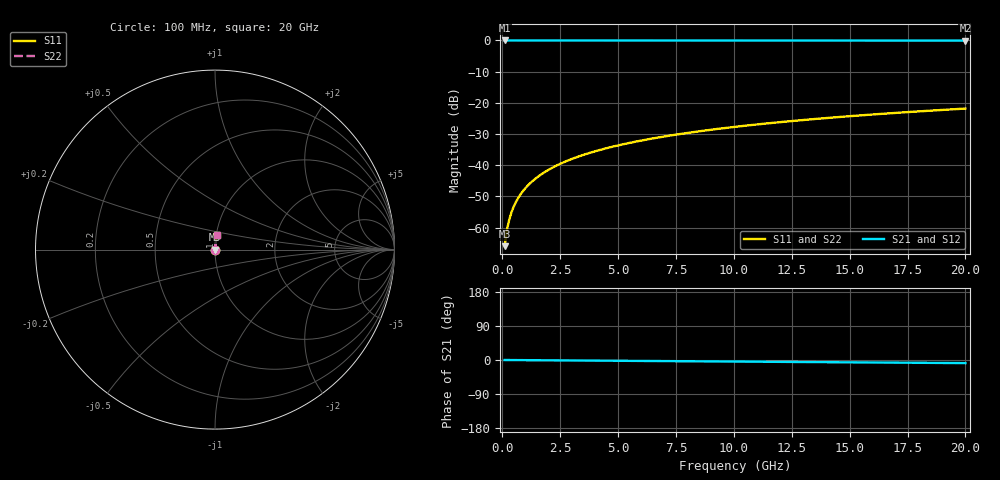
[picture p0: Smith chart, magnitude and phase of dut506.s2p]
! Touchstone file exported from HFSS 2026.1.0
!  File:  C:/ffzhzh/LocalFiles/Ansys_Project_Files/temp_train_TSV_506_1783023193_46388.aedt
!  Generated:  04:15:12 AM Jul  3, 2026
!  Design:  TSV
!  Project:  temp_train_TSV_506_1783023193_46388
! Variables:
!  h_bsmrdl = 2um
!  h_ox = 20um
!  h_rdl = 5um
!  h_sub = 58.57um
!  h_tmrdl = 5um
!  h_tsv = 58.57um
!  h_via = 3um
!  l_bsmrdl = 300um
!  l_sub = 411.38um
!  l_tmrdl = 200um
!  m_sub = 200um
!  pitch = 57.76um
!  r_tsv = 5.69um
!  s_tmrdl = 10um
!  w_bsmrdl = 18um
!  w_sub = 500um
!  w_tmrdl = 12um
!  x_tsv_center1 = 206um
!  x_tsv_center2 = 524um
!  x_tsv_center3 = 736um
!  x_tsv_center4 = 1054um
!  x_tsv_center5 = 1266um
!  x_tsv_center6 = 1584um
# GHz S MA R 50.000000
! Terminal data exported
! Port[1] = TSV1_1_T1
! Port[2] = TSV1_1_T2
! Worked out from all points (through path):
!   200 points, 100 MHz to 20 GHz, reference 50 ohm
!   highest |S21| = 0.00 dB at 100 MHz (marker M1); lowest = 0.0 dB at 20 GHz (marker M2)
!   group delay of S21, straight-line fit = 1.13 ps
!   lowest |S11| = -66.0 dB at 100 MHz (marker M3), VSWR 1.00, Z = 50 + j0.044 ohm
!   |S11| at or under -10 dB: start of sweep to end of sweep
!   |S22| runs from -66.0 to -21.8 dB; largest |S21 - S12| = 3e-15
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0.1  0.0005019 61.2  0.9998 -0.0  0.9998 -0.0  0.0005019 61.2
! Gamma 0 0 0 0
! Port Impedance 50 0 50 0
0.2  0.0009131 74.1  0.9998 -0.1  0.9998 -0.1  0.0009131 74.1
0.3  0.001339 78.6  0.9997 -0.1  0.9997 -0.1  0.001339 78.6
0.4  0.001766 80.8  0.9997 -0.2  0.9997 -0.2  0.001766 80.8
0.5  0.002191 82.2  0.9997 -0.2  0.9997 -0.2  0.002191 82.2
0.6  0.002613 83.0  0.9997 -0.3  0.9997 -0.3  0.002613 83.0
0.7  0.003034 83.6  0.9997 -0.3  0.9997 -0.3  0.003034 83.6
0.8  0.003453 84.1  0.9997 -0.3  0.9997 -0.3  0.003453 84.1
1  0.004286 84.8  0.9996 -0.4  0.9996 -0.4  0.004286 84.8
1.4  0.005948 85.5  0.9996 -0.6  0.9996 -0.6  0.005948 85.5
1.7  0.007191 85.9  0.9995 -0.7  0.9995 -0.7  0.007191 85.9
2  0.008433 86.0  0.9995 -0.8  0.9995 -0.8  0.008433 86.0
2.7  0.01132 86.2  0.9994 -1.1  0.9994 -1.1  0.01132 86.2
3.5  0.01461 86.2  0.9993 -1.5  0.9993 -1.5  0.01461 86.2
4.2  0.01748 86.1  0.9992 -1.7  0.9992 -1.7  0.01748 86.1
5  0.02074 85.9  0.9991 -2.1  0.9991 -2.1  0.02074 85.9
6.8  0.02804 85.4  0.9988 -2.8  0.9988 -2.8  0.02804 85.4
8.3  0.0341 85.0  0.9985 -3.4  0.9985 -3.4  0.0341 85.0
10.1  0.04135 84.4  0.9981 -4.2  0.9981 -4.2  0.04135 84.4
13.4  0.0546 83.3  0.9973 -5.5  0.9973 -5.5  0.0546 83.3
16.7  0.06777 82.0  0.9964 -6.8  0.9964 -6.8  0.06777 82.0
20  0.08084 80.8  0.9953 -8.2  0.9953 -8.2  0.08084 80.8
